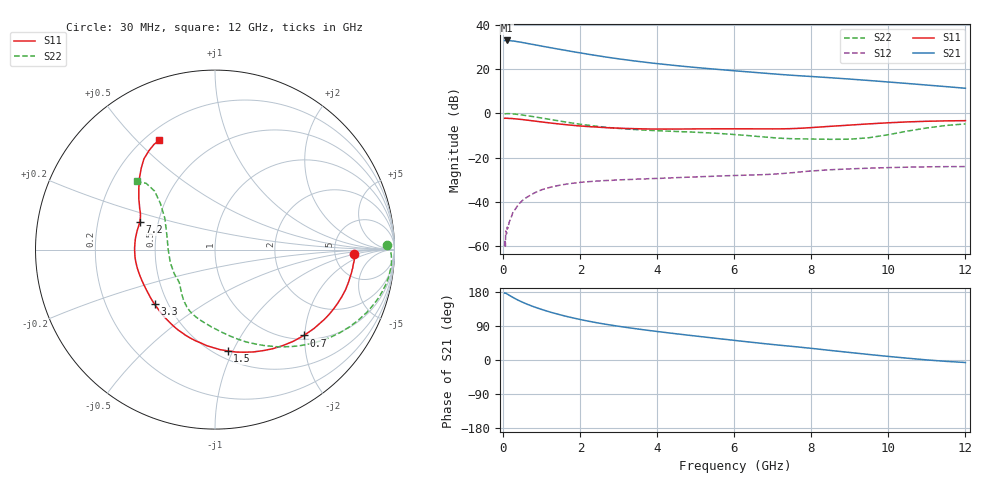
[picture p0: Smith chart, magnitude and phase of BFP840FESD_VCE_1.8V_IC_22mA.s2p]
! Infineon Technologies  Discrete & RF Semiconductors
! BFP840FESD
! VCE =  1.8 V,  IC =  22 mA
! Common Emitter S-Parameters:  May 2012
# GHz  S  MA  R  50
!  f  S11  S21  S12  S22
! GHz  MAG  ANG  MAG  ANG  MAG  ANG  MAG  ANG
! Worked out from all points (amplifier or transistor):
!   103 points, 30 MHz to 12 GHz, reference 50 ohm
!   highest |S21| = 32.9 dB at 80 MHz (marker M1)
!   |S21| within 3 dB of that: start of sweep to 1.135 GHz
!   unconditionally stable (mu >= 1): 5.774 GHz to end of sweep
!   at 400 MHz: K = 0.17, MSG = 36.6 dB, |S12| = -40.9 dB
!   at 3.7 GHz: K = 0.75, MSG = 26.3 dB, |S12| = -29.6 dB
!   at 12 GHz: K = 1.09, MAG = 15.8 dB, |S12| = -24.0 dB
!   S11 on the Smith chart (normalised r, x): 30 MHz: 7.70, -1.04; 700 MHz: 1.09, -1.98; 1.5 GHz: 0.57, -0.96; 3.3 GHz: 0.42, -0.32; 7.2 GHz: 0.39, +0.15; 12 GHz: 0.25, +0.58
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0.03  0.7738 -2.0  44.03 176.4  0.001 124.7  0.9563 1.4
0.04  0.7758 -2.7  44.11 175.9  0.0013 94.5  0.9676 0.6
0.05  0.7754 -3.5  44.2 176.8  0.001 80.5  0.9738 -0.1
0.08  0.7758 -5.6  44.36 175.1  0.0019 85.6  0.9833 -2.1
0.25  0.7609 -17.1  43.12 165.0  0.006 80.3  0.9718 -11.5
0.35  0.7463 -23.6  41.83 159.5  0.0078 77.0  0.9514 -16.2
0.5  0.7226 -32.6  39.74 152.3  0.0109 72.4  0.9152 -22.5
0.7  0.6887 -44.0  36.88 143.9  0.0142 66.9  0.8625 -30.1
1  0.6394 -59.7  33 133.2  0.0189 59.8  0.7832 -40.2
1.2  0.6091 -69.4  30.68 126.9  0.0212 55.8  0.7326 -46.3
1.5  0.5688 -82.8  27.57 118.6  0.0242 50.6  0.6628 -54.8
1.8  0.537 -95.0  24.8 111.2  0.0264 46.4  0.6026 -62.6
2.1  0.5112 -105.8  22.44 104.6  0.0281 43.0  0.5537 -69.6
2.6  0.48 -120.9  19.11 95.2  0.0302 38.9  0.4917 -79.6
3.3  0.4537 -137.9  15.71 84.5  0.0321 36.3  0.4369 -91.0
4.1  0.4423 -153.7  13.01 73.9  0.0341 35.2  0.4026 -101.3
4.9  0.4449 -166.4  11.07 64.3  0.0365 35.1  0.378 -110.0
6.1  0.4473 176.9  9.021 50.6  0.0397 35.2  0.3279 -122.6
7.2  0.4471 159.9  7.568 38.8  0.0435 38.1  0.2748 -135.8
8.5  0.5101 146.3  6.379 25.2  0.0533 35.6  0.2593 -163.9
10.5  0.642 128.1  4.727 4.7  0.0609 28.0  0.3984 139.8
12  0.6843 117.1  3.691 -6.6  0.0628 25.1  0.5774 138.9
